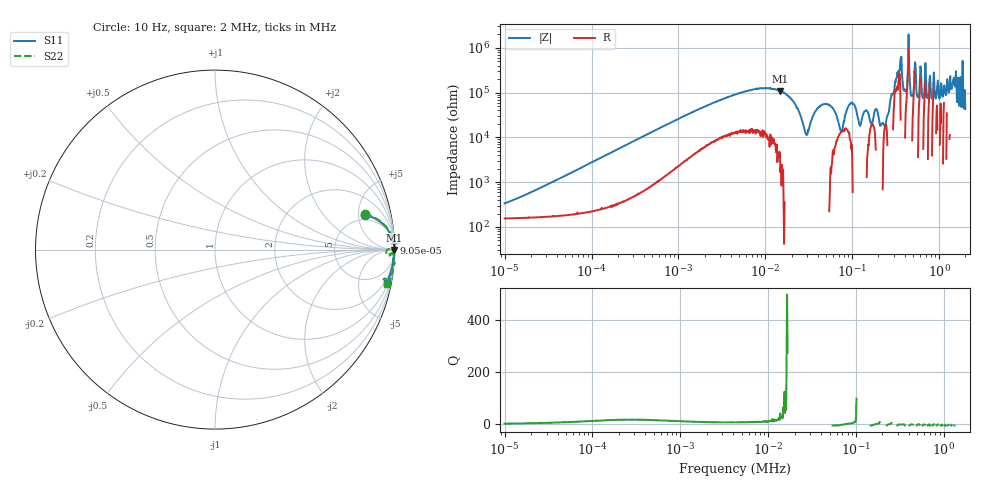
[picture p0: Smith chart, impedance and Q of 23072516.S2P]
!Agilent Technologies,E5061B,MY49204007,A.02.12
!Date: Wed Jul 23 11:28:11 2025
!Data & Calibration Information:
!Freq	S11:SOLT2(ON)	S21:SOLT2(ON)	S12:SOLT2(ON)	S22:SOLT2(ON)
# Hz S dB R 50
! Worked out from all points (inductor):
!   1040 points, 10 Hz to 2 MHz, reference 50 ohm
!   read as one part in series: L = 4.53 H near 16.77 Hz
!   highest Q = 42.9 at 14.87 kHz (marker M1), where L = 1.14 H
!   self-resonance near 29.6 kHz
!   S11 on the Smith chart (normalised r, x): 10 Hz: 4.13, +5.97; 90.5 Hz: 6, +50; 2 MHz: 1, -10
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10  -1.35 13.0  -11.88 -49.5  -11.88 -49.4  -1.33 13.2
77.209  -0.05 2.6  -26.66 -81.8  -26.66 -81.7  -0.04 2.8
90.499  -0.04 2.3  -27.99 -82.7  -28.00 -82.6  -0.02 2.5
588.818  -0.01 0.4  -43.89 -85.6  -43.90 -85.6  0.01 0.5
4498.482  -0.00 0.0  -59.16 -81.9  -59.18 -81.1  0.01 0.2
14865.08  -0.00 -0.1  -60.57 -89.2  -60.78 -88.2  0.01 0.0
21558.9  -0.01 -0.2  -55.32 -97.4  -55.40 -96.8  0.01 -0.1
29291.95  -0.05 -0.3  -41.56 -165.3  -41.53 -165.1  -0.09 -0.2
34305.13  -0.01 -0.1  -48.44 114.3  -48.44 114.7  -0.01 0.1
47637.62  -0.01 -0.2  -54.83 94.5  -54.99 94.5  0.01 -0.2
74327.26  -0.05 -0.5  -42.48 10.4  -42.51 10.3  -0.09 -0.5
96607.24  -0.01 -0.5  -55.50 -83.4  -55.21 -82.9  0.00 -0.6
123284.5  -0.03 -0.6  -45.19 169.5  -45.27 169.0  -0.08 -0.8
188401.2  -0.01 -1.0  -52.55 -92.0  -52.65 -88.8  -0.05 -1.6
226760  -0.02 -1.2  -46.35 74.0  -46.24 74.2  -0.21 -1.9
261946.5  -0.02 -1.4  -51.14 -137.2  -51.45 -137.5  -0.15 -0.2
351399.5  -0.02 -1.9  -69.70 34.0  -71.38 57.1  -0.01 -1.3
399990  -0.02 -2.1  -61.36 89.6  -59.86 89.9  -0.00 -1.7
438287.4  -0.02 -2.3  -71.52 34.7  -75.70 52.9  -0.00 -2.0
488643.4  -0.03 -2.6  -58.43 81.6  -58.94 80.6  -0.01 -2.3
1473590  -0.11 -8.0  -66.75 134.5  -65.25 138.0  -0.07 -9.5
2000000  -0.21 -11.0  -52.94 -128.7  -53.41 -125.4  -0.21 -11.4
